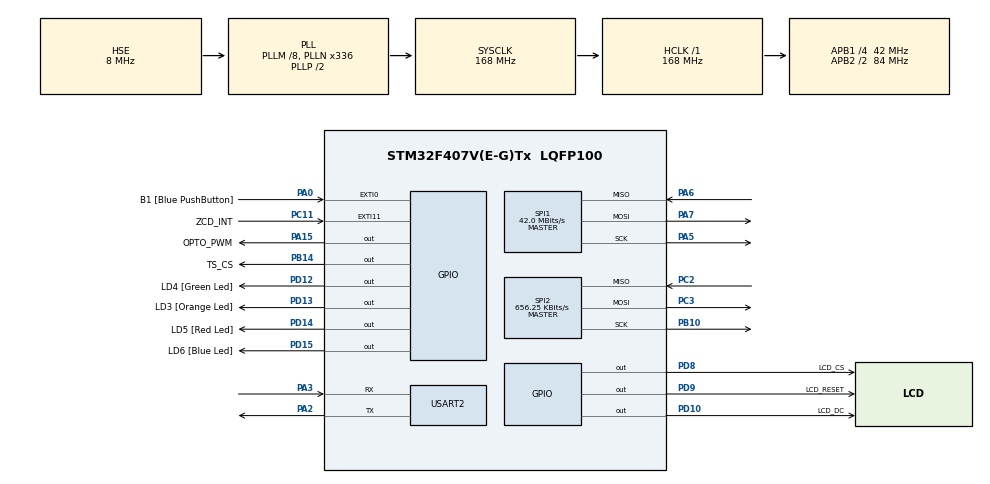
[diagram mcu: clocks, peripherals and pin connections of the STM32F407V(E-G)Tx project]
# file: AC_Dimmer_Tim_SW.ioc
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Mcu.Family=STM32F4
Mcu.Name=STM32F407V(E-G)Tx
Mcu.Package=LQFP100
NVIC.EXTI0_IRQn=true\:0\:0\:false\:false\:true\:true\:true\:true
NVIC.EXTI15_10_IRQn=true\:0\:0\:false\:false\:true\:true\:true\:true
NVIC.PriorityGroup=NVIC_PRIORITYGROUP_0
NVIC.TIM2_IRQn=true\:0\:0\:false\:false\:true\:true\:true\:true
PA0-WKUP.GPIO_Label=B1 [Blue PushButton]
PA0-WKUP.GPIO_ModeDefaultEXTI=GPIO_MODE_IT_RISING
PA0-WKUP.GPIO_PuPd=GPIO_PULLDOWN
PA0-WKUP.Signal=GPXTI0
PA13.GPIO_Label=SWDIO
PA13.Mode=Serial_Wire
PA13.Signal=SYS_JTMS-SWDIO
PA14.GPIO_Label=SWCLK
PA14.Mode=Serial_Wire
PA14.Signal=SYS_JTCK-SWCLK
PA15.GPIO_Label=OPTO_PWM
PA15.Signal=GPIO_Output
PA2.Mode=Asynchronous
PA2.Signal=USART2_TX
PA3.Mode=Asynchronous
PA3.Signal=USART2_RX
PA5.Mode=Full_Duplex_Master
PA5.Signal=SPI1_SCK
PA6.Mode=Full_Duplex_Master
PA6.Signal=SPI1_MISO
PA7.Mode=Full_Duplex_Master
PA7.Signal=SPI1_MOSI
PB10.Mode=Full_Duplex_Master
PB10.Signal=SPI2_SCK
PB14.GPIO_Label=TS_CS
PB14.Signal=GPIO_Output
PB3.GPIO_Label=SWO
PB3.Signal=SYS_JTDO-SWO
PC11.GPIO_Label=ZCD_INT
PC11.GPIO_PuPd=GPIO_PULLDOWN
PC11.Signal=GPXTI11
PC14-OSC32_IN.GPIO_Label=PC14-OSC32_IN
PC14-OSC32_IN.Mode=LSE-External-Oscillator
PC14-OSC32_IN.Signal=RCC_OSC32_IN
PC15-OSC32_OUT.GPIO_Label=PC15-OSC32_OUT
PC15-OSC32_OUT.Mode=LSE-External-Oscillator
PC15-OSC32_OUT.Signal=RCC_OSC32_OUT
PC2.Mode=Full_Duplex_Master
PC2.Signal=SPI2_MISO
PC3.Mode=Full_Duplex_Master
PC3.Signal=SPI2_MOSI
PD10.GPIO_Label=LCD_DC
PD10.Signal=GPIO_Output
PD12.GPIO_Label=LD4 [Green Led]
PD12.GPIO_PuPd=GPIO_NOPULL
PD12.GPIO_Speed=GPIO_SPEED_FREQ_LOW
PD12.Signal=GPIO_Output
PD13.GPIO_Label=LD3 [Orange Led]
PD13.GPIO_PuPd=GPIO_NOPULL
PD13.GPIO_Speed=GPIO_SPEED_FREQ_LOW
PD13.Signal=GPIO_Output
PD14.GPIO_Label=LD5 [Red Led]
PD14.GPIO_PuPd=GPIO_NOPULL
PD14.GPIO_Speed=GPIO_SPEED_FREQ_LOW
PD14.Signal=GPIO_Output
PD15.GPIO_Label=LD6 [Blue Led]
PD15.GPIO_PuPd=GPIO_NOPULL
PD15.GPIO_Speed=GPIO_SPEED_FREQ_LOW
PD15.Signal=GPIO_Output
PD8.GPIO_Label=LCD_CS
PD8.Signal=GPIO_Output
PD9.GPIO_Label=LCD_RESET
PD9.Signal=GPIO_Output
PH0-OSC_IN.GPIO_Label=PH0-OSC_IN
PH0-OSC_IN.Mode=HSE-External-Oscillator
PH0-OSC_IN.Signal=RCC_OSC_IN
PH1-OSC_OUT.GPIO_Label=PH1-OSC_OUT
PH1-OSC_OUT.Mode=HSE-External-Oscillator
PH1-OSC_OUT.Signal=RCC_OSC_OUT
ProjectManager.HeapSize=0x200
ProjectManager.StackSize=0x400
ProjectManager.TargetToolchain=TrueSTUDIO
RCC.48MHZClocksFreq_Value=48000000
RCC.AHBFreq_Value=168000000
RCC.APB1CLKDivider=RCC_HCLK_DIV4
RCC.APB1Freq_Value=42000000
RCC.APB1TimFreq_Value=84000000
RCC.APB2CLKDivider=RCC_HCLK_DIV2
RCC.APB2Freq_Value=84000000
RCC.APB2TimFreq_Value=168000000
RCC.CortexFreq_Value=168000000
RCC.HCLKFreq_Value=168000000
RCC.HSE_VALUE=8000000
RCC.HSI_VALUE=16000000
RCC.PLLM=8
RCC.PLLN=336
RCC.PLLQ=7
RCC.PLLSourceVirtual=RCC_PLLSOURCE_HSE
RCC.SYSCLKFreq_VALUE=168000000
RCC.SYSCLKSource=RCC_SYSCLKSOURCE_PLLCLK
RCC.VCOOutputFreq_Value=336000000
SPI1.CalculateBaudRate=42.0 MBits/s
SPI1.Direction=SPI_DIRECTION_2LINES
SPI1.Mode=SPI_MODE_MASTER
SPI1.VirtualType=VM_MASTER
SPI2.BaudRatePrescaler=SPI_BAUDRATEPRESCALER_64
SPI2.CalculateBaudRate=656.25 KBits/s
SPI2.Direction=SPI_DIRECTION_2LINES
SPI2.Mode=SPI_MODE_MASTER
SPI2.VirtualType=VM_MASTER
TIM2.Period=100
TIM2.Prescaler=7000
USART2.VirtualMode=VM_ASYNC
VP_TIM2_VS_ClockSourceINT.Mode=Internal
board=STM32F407G-DISC1

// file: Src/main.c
/* USER CODE BEGIN Header */
/**
  ******************************************************************************
  * @file           : main.c
  * @brief          : Main program body
  ******************************************************************************
  * @attention
  *
  * Copyright (c) 2022 STMicroelectronics.
  * All rights reserved.
  *
  * This software is licensed under terms that can be found in the LICENSE file
  * in the root directory of this software component.
  * If no LICENSE file comes with this software, it is provided AS-IS.
  *
  ******************************************************************************
  */
/* USER CODE END Header */
#include "main.h"

/* USER CODE BEGIN Includes */
#include <stdbool.h>
#include <stdio.h>
#include "retarget.h"

#include "MY_ILI9341.h"
#include "TSC2046.h"
/* USER CODE END Includes */

/* USER CODE BEGIN PM */
#define TOUCH_CTRL			0
#define TRIG_PULSE_WIDTH	3					//25usec
/* USER CODE END PM */

 SPI_HandleTypeDef hspi1;
SPI_HandleTypeDef hspi2;

TIM_HandleTypeDef htim2;

UART_HandleTypeDef huart2;

void SystemClock_Config(void);
static void MX_GPIO_Init(void);
static void MX_SPI1_Init(void);
static void MX_TIM2_Init(void);
static void MX_USART2_UART_Init(void);
static void MX_SPI2_Init(void);

/* USER CODE BEGIN 0 */
volatile bool f_StartPWM = false;
volatile bool f_ChangePWM = false;
static int DutyCycle = 0;				//Duty cycle default set to 100
int setDutyCycle = 0;					//Duty cycle once set after first ZCD

typedef enum{
	OffState,
	OnState
}control_state;

volatile control_state wave_state;

uint8_t set_dutycycle = 0;

TS_TOUCH_DATA_Def myTS_Handle;
/* USER CODE END 0 */

int main(void)
{

  /* MCU Configuration--------------------------------------------------------*/

  /* Reset of all peripherals, Initializes the Flash interface and the Systick. */
  HAL_Init();

  /* Configure the system clock */
  SystemClock_Config();

  /* Initialize all configured peripherals */
  MX_GPIO_Init();
  MX_SPI1_Init();
  MX_TIM2_Init();
  MX_USART2_UART_Init();
  MX_SPI2_Init();
  /* USER CODE BEGIN 2 */
  RetargetInit(&huart2);
  printf("Code Started\r\n");

#if (TOUCH_CTRL == 1)
  /** Touch and LCD code below **/
	uint8_t dutycycle = 0;
	char str[10];
	uint8_t sw = 0;

	ILI9341_Init(&hspi1, LCD_CS_GPIO_Port, LCD_CS_Pin, LCD_DC_GPIO_Port, LCD_DC_Pin, LCD_RESET_GPIO_Port, LCD_RESET_Pin);
	ILI9341_setRotation(2);
	ILI9341_Fill(COLOR_DGREEN);

	TSC2046_Begin(&hspi2, TS_CS_GPIO_Port, TS_CS_Pin);
	TSC2046_Calibrate();
	ILI9341_Fill(COLOR_NAVY);

	ILI9341_printText("INTENSITY CONTROL", 10, 10, COLOR_RED, COLOR_NAVY, 3);

	ILI9341_Fill_Rect(40, 60, 110 ,130, COLOR_WHITE );	//up button white
	ILI9341_Fill_Rect(45, 65, 105 ,125, COLOR_BLACK );	//up button black

	ILI9341_Fill_Rect(200, 60, 270 ,130, COLOR_WHITE );	//down button white
	ILI9341_Fill_Rect(205, 65, 265 ,125, COLOR_BLACK );	//down button black

	//ILI9341_drawTriangle(75, 80, 65, 100, 85, 100, COLOR_RED);
	ILI9341_fillTriangle(75, 80, 65, 100, 85, 100, COLOR_RED); //up button triangle
	ILI9341_fillTriangle(225, 80, 245, 80, 235, 100, COLOR_RED); //down button triangle

	ILI9341_Fill_Rect(10, 180, 110, 230, COLOR_BLACK); //on-off button
	ILI9341_Fill_Rect(180, 180, 310, 230, COLOR_BLACK); //set duty cycle button

	ILI9341_printText("UP", 65, 140, COLOR_RED, COLOR_NAVY, 2);
	ILI9341_printText("DOWN", 215, 140, COLOR_RED, COLOR_NAVY, 2);

	ILI9341_printText("DUTY", 130, 70, COLOR_RED, COLOR_NAVY, 2);
	ILI9341_printText("CYCLE", 125, 95, COLOR_RED, COLOR_NAVY, 2);

	ILI9341_printText("ON/OFF", 25, 200, COLOR_WHITE, COLOR_BLACK, 2);
	//ILI9341_printText("OFF", 25, 200, COLOR_WHITE, COLOR_BLACK, 2);
	ILI9341_printText("SET", 230, 185, COLOR_WHITE, COLOR_BLACK, 2);
	ILI9341_printText("DUTY CYCLE", 185, 205, COLOR_WHITE, COLOR_BLACK, 2);

	sprintf(str, " %d ", dutycycle);
	ILI9341_printText(str, 120, 140, COLOR_RED, COLOR_NAVY, 4);
#endif

  /* USER CODE END 2 */

  /* Infinite loop */
  while (1)
  {

    /* USER CODE BEGIN 3 */
	    /** LCD and Touch control code STARTS **/
#if (TOUCH_CTRL == 1)
	myTS_Handle = TSC2046_GetTouchData();
	  if(myTS_Handle.isPressed)
	  {
		  //UP button
		  if(myTS_Handle.X >=40 && myTS_Handle.X<=110 && myTS_Handle.Y>=60 && myTS_Handle.Y<=130)
		  {
			  if((sw % 2)!=0)
			  {
				  if(dutycycle == 100)
				  {
					  continue;
				  }
				  else
				  {
					  dutycycle += 10;
					  sprintf(str, " %d ", dutycycle);
					  if(dutycycle == 100)
					  {
						  ILI9341_printText(str, 95, 140, COLOR_RED, COLOR_NAVY, 4);
						  ILI9341_printText("DOWN", 215, 140, COLOR_RED, COLOR_NAVY, 2);
					  }
					  else if(dutycycle > 0 || dutycycle < 100 )
					  {
						  ILI9341_printText(str, 110, 140, COLOR_RED, COLOR_NAVY, 4);
						  ILI9341_printText("DOWN", 215, 140, COLOR_RED, COLOR_NAVY, 2);
					  }
					  else
					  {
						  ILI9341_printText(str, 120, 140, COLOR_RED, COLOR_NAVY, 4);
						  ILI9341_printText("DOWN", 215, 140, COLOR_RED, COLOR_NAVY, 2);
					  }
				  }
			  }
		  }
		  //DOWN button
		  if(myTS_Handle.X >=200 && myTS_Handle.X<=270 && myTS_Handle.Y>=60 && myTS_Handle.Y<=130)
		  {
			  if(dutycycle == 0)
			  {
				  continue;
			  }
			  else
			  {
				  dutycycle -= 10;
				  sprintf(str, " %d ", dutycycle);
				  if(dutycycle == 0)
				  {
					  ILI9341_printText(str, 120, 140, COLOR_RED, COLOR_NAVY, 4);
					  ILI9341_printText("DOWN", 215, 140, COLOR_RED, COLOR_NAVY, 2);
				  }
				  else if(dutycycle > 0 || dutycycle < 100 )
				  {
					  ILI9341_printText(str, 110, 140, COLOR_RED, COLOR_NAVY, 4);
					  ILI9341_printText("DOWN", 215, 140, COLOR_RED, COLOR_NAVY, 2);
				  }
				  else
				  {
					  ILI9341_printText(str, 95, 140, COLOR_RED, COLOR_NAVY, 4);
					  ILI9341_printText("DOWN", 215, 140, COLOR_RED, COLOR_NAVY, 2);
				  }
			  }
		  }

		  //ON/OFF button
		  if(myTS_Handle.X >=10 && myTS_Handle.X<=110 && myTS_Handle.Y>=180 && myTS_Handle.Y<=230)
		  {
			  sw++;

			  if((sw % 2) != 0)
			  {
				  dutycycle = set_dutycycle;
				  sprintf(str, " %d ", dutycycle);
				  ILI9341_printText(str, 110, 140, COLOR_RED, COLOR_NAVY, 4);
				  ILI9341_printText("DOWN", 215, 140, COLOR_RED, COLOR_NAVY, 2);
				  ILI9341_Fill_Rect(10, 180, 110, 230, COLOR_WHITE);
				  ILI9341_printText("ON", 45, 200, COLOR_BLACK, COLOR_WHITE, 2);
			  }
			  else
			  {
				  dutycycle = 0;
				  sprintf(str, " %d ", dutycycle);
				  ILI9341_printText(str, 120, 140, COLOR_RED, COLOR_NAVY, 4);
				  ILI9341_printText("DOWN", 215, 140, COLOR_RED, COLOR_NAVY, 2);
				  ILI9341_Fill_Rect(10, 180, 110, 230, COLOR_BLACK);
				  ILI9341_printText("OFF", 40, 200, COLOR_WHITE, COLOR_BLACK, 2);
			  }
		  }

		  //set dutycycle button
		  if(myTS_Handle.X >=180 && myTS_Handle.X<=310 && myTS_Handle.Y>=180 && myTS_Handle.Y<=230)
		  {
			  set_dutycycle = dutycycle; //use set_dutycycle further
			  printf("Duty Cycle: %d\r\n", set_dutycycle);
		  }
	  }

	/** TRIAC Control code STARTS **/
#else
	if(f_ChangePWM){
		//Handling PWM change on USR button press
		f_ChangePWM = false;
		printf("Enter New Duty Cycle\r\n");
		while(1){
			scanf("%d", &DutyCycle);
			if((DutyCycle >= 0) && (DutyCycle <= 100)){
				set_dutycycle = DutyCycle;
				printf("%d\r\n", DutyCycle);
				break;
			}
			else{
				printf("Enter Duty Cycle value between 0 to 100. \r\n Try Again\r\n");
			}
		}
	}
#endif
    if(f_StartPWM){
		f_StartPWM = false;
		setDutyCycle = set_dutycycle;

		/** New logic to handle PWM manually below **/
		switch(wave_state){
		case OffState:
			HAL_GPIO_WritePin(OPTO_PWM_GPIO_Port, OPTO_PWM_Pin, GPIO_PIN_RESET);		//Set Opto output to low
//			__HAL_TIM_SET_AUTORELOAD(&htim2, (100-DutyCycle));							//Time set for off cycle
			//Start timer only when ZCD received with set duty cycle
			htim2.Instance->ARR = (100-setDutyCycle)*10;
			htim2.Init.Period = (100-setDutyCycle)*10;
			HAL_TIM_Base_Start_IT(&htim2);
			printf("off:%d|%d|%d\r\n", wave_state, 100-setDutyCycle, __HAL_TIM_GET_AUTORELOAD(&htim2));
			break;

		case OnState:

//			__HAL_TIM_SET_AUTORELOAD(&htim2, DutyCycle);								//Time set for off cycle
			printf("on:%d|%d|%d\r\n", wave_state, setDutyCycle, __HAL_TIM_GET_AUTORELOAD(&htim2));
			break;
		}

		HAL_GPIO_TogglePin(GPIOD, LD3_Pin);
	}
  }
  /* USER CODE END 3 */
}

void SystemClock_Config(void)
{
  RCC_OscInitTypeDef RCC_OscInitStruct = {0};
  RCC_ClkInitTypeDef RCC_ClkInitStruct = {0};

  /** Configure the main internal regulator output voltage
  */
  __HAL_RCC_PWR_CLK_ENABLE();
  __HAL_PWR_VOLTAGESCALING_CONFIG(PWR_REGULATOR_VOLTAGE_SCALE1);

  /** Initializes the RCC Oscillators according to the specified parameters
  * in the RCC_OscInitTypeDef structure.
  */
  RCC_OscInitStruct.OscillatorType = RCC_OSCILLATORTYPE_HSE;
  RCC_OscInitStruct.HSEState = RCC_HSE_ON;
  RCC_OscInitStruct.PLL.PLLState = RCC_PLL_ON;
  RCC_OscInitStruct.PLL.PLLSource = RCC_PLLSOURCE_HSE;
  RCC_OscInitStruct.PLL.PLLM = 8;
  RCC_OscInitStruct.PLL.PLLN = 336;
  RCC_OscInitStruct.PLL.PLLP = RCC_PLLP_DIV2;
  RCC_OscInitStruct.PLL.PLLQ = 7;
  if (HAL_RCC_OscConfig(&RCC_OscInitStruct) != HAL_OK)
  {
    Error_Handler();
  }

  /** Initializes the CPU, AHB and APB buses clocks
  */
  RCC_ClkInitStruct.ClockType = RCC_CLOCKTYPE_HCLK|RCC_CLOCKTYPE_SYSCLK
                              |RCC_CLOCKTYPE_PCLK1|RCC_CLOCKTYPE_PCLK2;
  RCC_ClkInitStruct.SYSCLKSource = RCC_SYSCLKSOURCE_PLLCLK;
  RCC_ClkInitStruct.AHBCLKDivider = RCC_SYSCLK_DIV1;
  RCC_ClkInitStruct.APB1CLKDivider = RCC_HCLK_DIV4;
  RCC_ClkInitStruct.APB2CLKDivider = RCC_HCLK_DIV2;

  if (HAL_RCC_ClockConfig(&RCC_ClkInitStruct, FLASH_LATENCY_5) != HAL_OK)
  {
    Error_Handler();
  }
}

static void MX_SPI1_Init(void)
{

  /* SPI1 parameter configuration*/
  hspi1.Instance = SPI1;
  hspi1.Init.Mode = SPI_MODE_MASTER;
  hspi1.Init.Direction = SPI_DIRECTION_2LINES;
  hspi1.Init.DataSize = SPI_DATASIZE_8BIT;
  hspi1.Init.CLKPolarity = SPI_POLARITY_LOW;
  hspi1.Init.CLKPhase = SPI_PHASE_1EDGE;
  hspi1.Init.NSS = SPI_NSS_SOFT;
  hspi1.Init.BaudRatePrescaler = SPI_BAUDRATEPRESCALER_2;
  hspi1.Init.FirstBit = SPI_FIRSTBIT_MSB;
  hspi1.Init.TIMode = SPI_TIMODE_DISABLE;
  hspi1.Init.CRCCalculation = SPI_CRCCALCULATION_DISABLE;
  hspi1.Init.CRCPolynomial = 10;
  if (HAL_SPI_Init(&hspi1) != HAL_OK)
  {
    Error_Handler();
  }

}

static void MX_SPI2_Init(void)
{

  /* SPI2 parameter configuration*/
  hspi2.Instance = SPI2;
  hspi2.Init.Mode = SPI_MODE_MASTER;
  hspi2.Init.Direction = SPI_DIRECTION_2LINES;
  hspi2.Init.DataSize = SPI_DATASIZE_8BIT;
  hspi2.Init.CLKPolarity = SPI_POLARITY_LOW;
  hspi2.Init.CLKPhase = SPI_PHASE_1EDGE;
  hspi2.Init.NSS = SPI_NSS_SOFT;
  hspi2.Init.BaudRatePrescaler = SPI_BAUDRATEPRESCALER_64;
  hspi2.Init.FirstBit = SPI_FIRSTBIT_MSB;
  hspi2.Init.TIMode = SPI_TIMODE_DISABLE;
  hspi2.Init.CRCCalculation = SPI_CRCCALCULATION_DISABLE;
  hspi2.Init.CRCPolynomial = 10;
  if (HAL_SPI_Init(&hspi2) != HAL_OK)
  {
    Error_Handler();
  }

}

static void MX_TIM2_Init(void)
{

  TIM_ClockConfigTypeDef sClockSourceConfig = {0};
  TIM_MasterConfigTypeDef sMasterConfig = {0};

  htim2.Instance = TIM2;
//  htim2.Init.Prescaler = 7000;
  htim2.Init.Prescaler = 700;
  htim2.Init.CounterMode = TIM_COUNTERMODE_UP;
  htim2.Init.Period = 1000;
  htim2.Init.ClockDivision = TIM_CLOCKDIVISION_DIV1;
  htim2.Init.AutoReloadPreload = TIM_AUTORELOAD_PRELOAD_DISABLE;
  if (HAL_TIM_Base_Init(&htim2) != HAL_OK)
  {
    Error_Handler();
  }
  sClockSourceConfig.ClockSource = TIM_CLOCKSOURCE_INTERNAL;
  if (HAL_TIM_ConfigClockSource(&htim2, &sClockSourceConfig) != HAL_OK)
  {
    Error_Handler();
  }
  sMasterConfig.MasterOutputTrigger = TIM_TRGO_RESET;
  sMasterConfig.MasterSlaveMode = TIM_MASTERSLAVEMODE_DISABLE;
  if (HAL_TIMEx_MasterConfigSynchronization(&htim2, &sMasterConfig) != HAL_OK)
  {
    Error_Handler();
  }

}

static void MX_USART2_UART_Init(void)
{

  huart2.Instance = USART2;
  huart2.Init.BaudRate = 115200;
  huart2.Init.WordLength = UART_WORDLENGTH_8B;
  huart2.Init.StopBits = UART_STOPBITS_1;
  huart2.Init.Parity = UART_PARITY_NONE;
  huart2.Init.Mode = UART_MODE_TX_RX;
  huart2.Init.HwFlowCtl = UART_HWCONTROL_NONE;
  huart2.Init.OverSampling = UART_OVERSAMPLING_16;
  if (HAL_UART_Init(&huart2) != HAL_OK)
  {
    Error_Handler();
  }

}

static void MX_GPIO_Init(void)
{
  GPIO_InitTypeDef GPIO_InitStruct = {0};

  /* GPIO Ports Clock Enable */
  __HAL_RCC_GPIOC_CLK_ENABLE();
  __HAL_RCC_GPIOH_CLK_ENABLE();
  __HAL_RCC_GPIOA_CLK_ENABLE();
  __HAL_RCC_GPIOB_CLK_ENABLE();
  __HAL_RCC_GPIOD_CLK_ENABLE();

  /*Configure GPIO pin Output Level */
  HAL_GPIO_WritePin(TS_CS_GPIO_Port, TS_CS_Pin, GPIO_PIN_RESET);

  /*Configure GPIO pin Output Level */
  HAL_GPIO_WritePin(GPIOD, LCD_CS_Pin|LCD_RESET_Pin|LCD_DC_Pin|LD4_Pin
                          |LD3_Pin|LD5_Pin|LD6_Pin, GPIO_PIN_RESET);

  /*Configure GPIO pin Output Level */
  HAL_GPIO_WritePin(OPTO_PWM_GPIO_Port, OPTO_PWM_Pin, GPIO_PIN_RESET);

  /*Configure GPIO pin : B1_Pin */
  GPIO_InitStruct.Pin = B1_Pin;
  GPIO_InitStruct.Mode = GPIO_MODE_IT_RISING;
  GPIO_InitStruct.Pull = GPIO_PULLDOWN;
  HAL_GPIO_Init(B1_GPIO_Port, &GPIO_InitStruct);

  /*Configure GPIO pin : TS_CS_Pin */
  GPIO_InitStruct.Pin = TS_CS_Pin;
  GPIO_InitStruct.Mode = GPIO_MODE_OUTPUT_PP;
  GPIO_InitStruct.Pull = GPIO_NOPULL;
  GPIO_InitStruct.Speed = GPIO_SPEED_FREQ_LOW;
  HAL_GPIO_Init(TS_CS_GPIO_Port, &GPIO_InitStruct);

  /*Configure GPIO pins : LCD_CS_Pin LCD_RESET_Pin LCD_DC_Pin LD4_Pin
                           LD3_Pin LD5_Pin LD6_Pin */
  GPIO_InitStruct.Pin = LCD_CS_Pin|LCD_RESET_Pin|LCD_DC_Pin|LD4_Pin
                          |LD3_Pin|LD5_Pin|LD6_Pin;
  GPIO_InitStruct.Mode = GPIO_MODE_OUTPUT_PP;
  GPIO_InitStruct.Pull = GPIO_NOPULL;
  GPIO_InitStruct.Speed = GPIO_SPEED_FREQ_LOW;
  HAL_GPIO_Init(GPIOD, &GPIO_InitStruct);

  /*Configure GPIO pin : OPTO_PWM_Pin */
  GPIO_InitStruct.Pin = OPTO_PWM_Pin;
  GPIO_InitStruct.Mode = GPIO_MODE_OUTPUT_PP;
  GPIO_InitStruct.Pull = GPIO_NOPULL;
  GPIO_InitStruct.Speed = GPIO_SPEED_FREQ_LOW;
  HAL_GPIO_Init(OPTO_PWM_GPIO_Port, &GPIO_InitStruct);

  /*Configure GPIO pin : ZCD_INT_Pin */
  GPIO_InitStruct.Pin = ZCD_INT_Pin;
  GPIO_InitStruct.Mode = GPIO_MODE_IT_RISING;
  GPIO_InitStruct.Pull = GPIO_PULLDOWN;
  HAL_GPIO_Init(ZCD_INT_GPIO_Port, &GPIO_InitStruct);

  /* EXTI interrupt init*/
  HAL_NVIC_SetPriority(EXTI0_IRQn, 0, 0);
  HAL_NVIC_EnableIRQ(EXTI0_IRQn);

  HAL_NVIC_SetPriority(EXTI15_10_IRQn, 0, 0);
  HAL_NVIC_EnableIRQ(EXTI15_10_IRQn);

}

/* USER CODE BEGIN 4 */
void HAL_GPIO_EXTI_Callback(uint16_t GPIO_Pin){
	if(GPIO_Pin == B1_Pin){
		f_ChangePWM = true;
	}
	else if(GPIO_Pin == ZCD_INT_Pin){
		f_StartPWM = true;
		HAL_GPIO_TogglePin(GPIOD, LD6_Pin);
	}
}

void HAL_TIM_PeriodElapsedCallback(TIM_HandleTypeDef* htim){
	switch(wave_state){
	//Handles state change logic for delay periods for ON and OFF cycle
	case OffState:
		//State where TRIAC trigger should be off
		//Reach here when OFF time is lapsed
		wave_state = OnState;														//Next state should be On state
		HAL_GPIO_WritePin(OPTO_PWM_GPIO_Port, OPTO_PWM_Pin, GPIO_PIN_SET);			//Set Opto output to low
		//Trigger 25uSec pulse to drive TRIAC until next ZCD
		htim2.Instance->ARR = TRIG_PULSE_WIDTH;
		htim2.Init.Period = TRIG_PULSE_WIDTH;
//		printf("O\r\n");
		break;

	case OnState:
		//State where TRAIC trigger should be on
		wave_state = OffState;														//Next state should be Off state
		HAL_GPIO_WritePin(OPTO_PWM_GPIO_Port, OPTO_PWM_Pin, GPIO_PIN_RESET);		//Set Opto output to high
		HAL_TIM_Base_Stop_IT(&htim2);
//		htim2.Instance->ARR = TRIG_PULSE_WIDTH;
//		htim2.Init.Period = TRIG_PULSE_WIDTH;
		//No delay here. Change the state and wait for next ZCD to generate new delay
//		printf("I\r\n");
		break;
	}
}
/* USER CODE END 4 */

void Error_Handler(void)
{
  __disable_irq();
  while (1)
  {
  }
}
